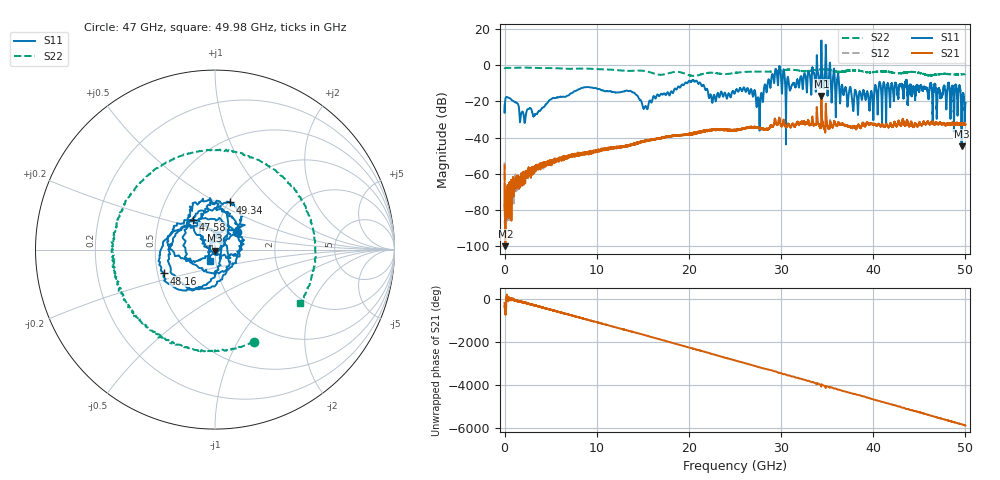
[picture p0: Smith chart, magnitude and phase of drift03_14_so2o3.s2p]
!Created with skrf (http://scikit-rf.org).
# Hz S RI R 50.0
!freq ReS11 ImS11 ReS21 ImS21 ReS12 ImS12 ReS22 ImS22
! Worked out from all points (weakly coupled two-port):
!   10001 points, 300 kHz to 50 GHz, reference 50 ohm
!   highest |S21| = -16.95 dB at 34.38 GHz (marker M1); lowest = -100.0 dB at 80.3 MHz (marker M2)
!   lowest |S11| = -44.7 dB at 49.59 GHz (marker M3), VSWR 1.01, Z = 49.9 - j0.562 ohm
!   |S11| at or under -10 dB: start of sweep to 19.55 GHz; 21.25 GHz to 28.55 GHz (7.295 GHz wide, 29.3 % of centre); 36.28 GHz to 40.63 GHz (4.347 GHz wide, 11.3 % of centre) (the widest 3 of 35)
!   |S22| runs from -5.9 to -1.3 dB; largest |S21 - S12| = 0.027
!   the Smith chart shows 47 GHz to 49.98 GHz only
!   S11 on the Smith chart (normalised r, x): 47 GHz: 1.25, +0.26; 47.58 GHz: 0.75, +0.26; 48.16 GHz: 0.54, -0.16; 49.34 GHz: 1.02, +0.58; 49.98 GHz: 0.94, -0.12
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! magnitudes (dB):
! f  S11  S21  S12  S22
! 300 kHz  -21.8  -55.3  -53.7  -2.1
! 80.3 MHz  -18.9  -100.0  -84.8  -1.5
! 255.3 MHz  -17.6  -73.4  -81.0  -1.4
! 3.3 GHz  -27.2  -58.3  -57.5  -1.5
! 8.335 GHz  -12.6  -49.0  -48.8  -1.9
! 15.28 GHz  -22.8  -41.9  -42.0  -3.3
! 16.67 GHz  -16.6  -40.6  -40.5  -5.2
! 25 GHz  -15.2  -36.2  -35.8  -4.3
! 27.52 GHz  -17.8  -34.7  -34.6  -3.5
! 29.28 GHz  -8.2  -31.0  -30.5  -3.4
! 30.73 GHz  -6.5  -32.5  -32.6  -2.5
! 33.34 GHz  -7.3  -31.1  -31.2  -2.9
! 34.38 GHz  13.0  -16.9  -18.2  -2.3
! 37.84 GHz  -25.4  -33.6  -34.2  -2.8
! 41.67 GHz  -11.6  -34.3  -34.0  -3.8
! 47 GHz  -15.9  -32.1  -32.3  -5.1
! 47.58 GHz  -13.7  -32.3  -32.3  -4.8
! 48.16 GHz  -10.1  -32.4  -32.1  -4.9
! 49.34 GHz  -11.2  -32.4  -32.2  -5.1
! 49.59 GHz  -44.7  -32.3  -32.9  -5.1
! 49.98 GHz  -22.9  -33.0  -32.7  -5.0
! 50 GHz  -20.7  -32.7  -33.0  -5.0
